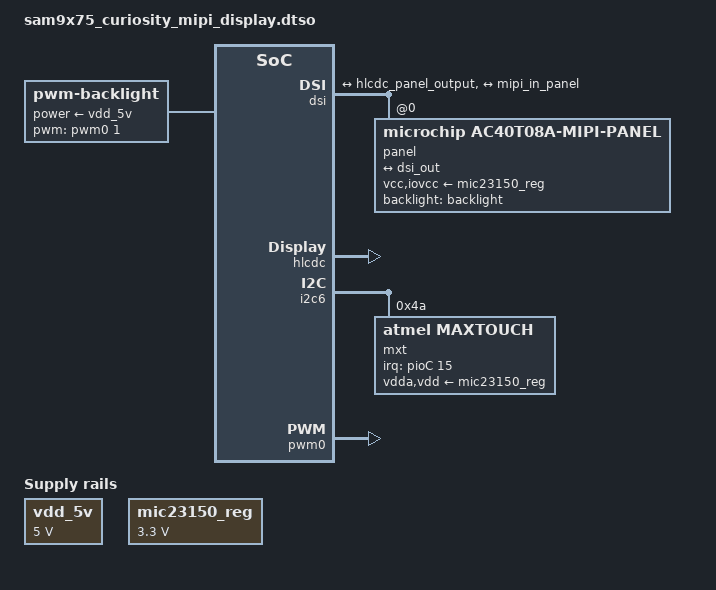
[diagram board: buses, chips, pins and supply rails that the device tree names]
// SPDX-License-Identifier: (GPL-2.0+ OR MIT)
/*
 * Device Tree file for SAM9X75 Curiosity board overlay blob
 * for AC40T08A MPU32 MIPI Display panel
 *
 * Copyright (C) 2024 Microchip Technology Inc. and its subsidiaries
 * Author: Manikandan Muralidharan <manikandan.m@microchip.com>
 *
 */
/dts-v1/;
/plugin/;

#include <dt-bindings/clock/at91.h>
#include <dt-bindings/pinctrl/at91.h>
#include <dt-bindings/gpio/gpio.h>

&{/} {
	backlight: backlight {
		compatible = "pwm-backlight";
		pwms = <&pwm0 1 1000000 0>;
		pinctrl-names = "default";
		pinctrl-0 = <&pinctrl_pwm_bl>;
		brightness-levels = <0 32 64 128 256 512 1024>;
		default-brightness-level = <6>;
		power-supply = <&vdd_5v>;
	};

	vdd_5v: fixed-regulator-vdd-5v {
		compatible = "regulator-fixed";
		regulator-name = "VDD_5V";
		regulator-min-microvolt = <5000000>;
		regulator-max-microvolt = <5000000>;
		regulator-always-on;
	};

	mic23150_reg: mic23150_regulator {
		compatible = "regulator-fixed";
		regulator-name = "panel-power-supply";
		regulator-min-microvolt = <3300000>;
		regulator-max-microvolt = <3300000>;
		enable-active-high;
	};
};

&dsi {
	status = "okay";
	#address-cells = <1>;
	#size-cells = <0>;

	ports {
		#address-cells = <1>;
		#size-cells = <0>;
		port@0 {
			reg = <0>;
			dsi_in: endpoint {
				remote-endpoint = <&hlcdc_panel_output>;
			};
		};

		port@1 {
			reg = <1>;
			dsi_out: endpoint {
				remote-endpoint = <&mipi_in_panel>;
			};
		};
	};

	panel@0 {
		reg = <0>;
		compatible = "microchip,ac40t08a-mipi-panel", "himax,hx8394";
		backlight = <&backlight>;
		vcc-supply = <&mic23150_reg>;
		iovcc-supply = <&mic23150_reg>;
		#address-cells = <1>;
		#size-cells = <0>;

		port@0 {
			reg = <0>;
			mipi_in_panel: endpoint {
				remote-endpoint = <&dsi_out>;
			};
		};
	};
};

&hlcdc {
	clocks = <&pmc PMC_TYPE_PERIPHERAL 25>, <&pmc PMC_TYPE_GCK 25>, <&clk32k 1>;
	clock-names = "periph_clk", "sys_clk", "slow_clk";
	assigned-clocks = <&pmc PMC_TYPE_GCK 25>;
	assigned-clock-rates = <66000000>;
	status = "okay";

	hlcdc-display-controller {
		port@0 {
			#address-cells = <1>;
			#size-cells = <0>;
			hlcdc_panel_output: endpoint@0 {
				reg = <0>;
				remote-endpoint = <&dsi_in>;
			};
		};
	};

	hlcdc_pwm: hlcdc-pwm {
		status = "disabled";
	};
};

&i2c6 {
	#address-cells = <1>;
	#size-cells = <0>;
	status = "okay";

	mxt: atmel_mxt_ts@4a {
		compatible = "atmel,maxtouch";
		reg = <0x4a>;
		interrupt-parent = <&pioC>;
		interrupts = <15 0x8>;
		pinctrl-names = "default";
		pinctrl-0 = <&pinctrl_mxt_irq>;
		vdda-supply = <&mic23150_reg>;
		vdd-supply = <&mic23150_reg>;
	};
};

&pinctrl {

	backlight {
                pinctrl_pwm_bl: pwm-bl {
                        atmel,pins = <AT91_PIOC 19 AT91_PERIPH_C AT91_PINCTRL_NONE>;
                };
        };

	mxt {
		pinctrl_mxt_irq: mxt-irq {
			atmel,pins =
				<AT91_PIOC 15 AT91_PERIPH_GPIO AT91_PINCTRL_PULL_UP_DEGLITCH>;
		};
	};
};

&pwm0 {
	status = "okay";
};
